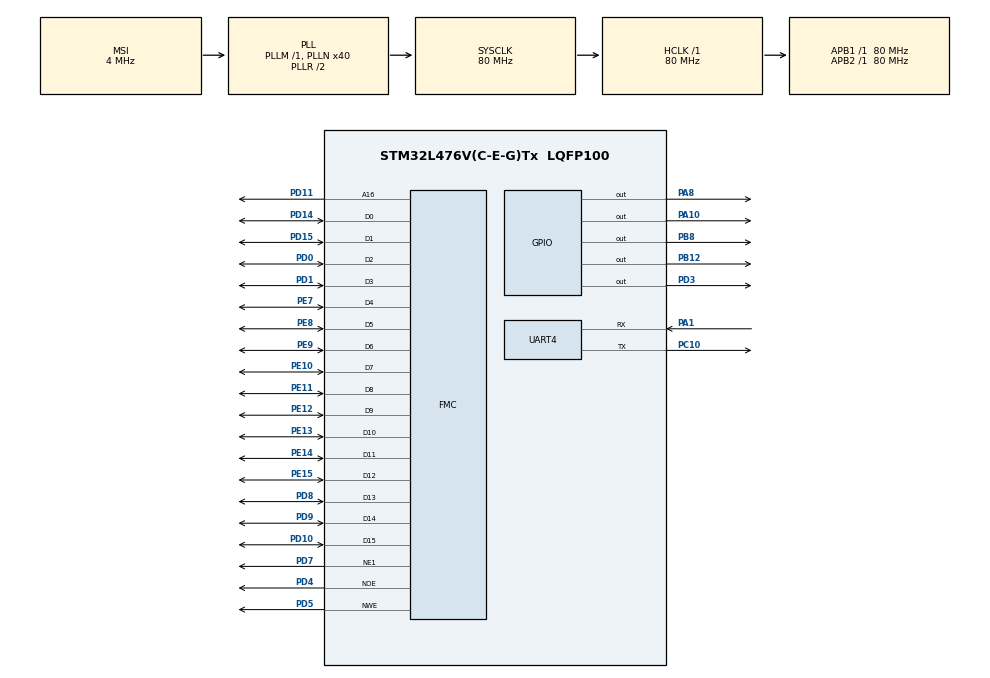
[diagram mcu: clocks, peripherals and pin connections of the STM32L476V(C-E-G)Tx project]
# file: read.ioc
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FMC.AccessMode1=FMC_ACCESS_MODE_A
FMC.AddressSetupTime1=5
FMC.AsynchronousWait1=FMC_ASYNCHRONOUS_WAIT_DISABLE
FMC.BurstAccessMode1=FMC_BURST_ACCESS_MODE_DISABLE
FMC.BusTurnAroundDuration1=5
FMC.CLKDivision1=16
FMC.ContinuousClock1=FMC_CONTINUOUS_CLOCK_SYNC_ONLY
FMC.DataAddressMux1=FMC_DATA_ADDRESS_MUX_DISABLE
FMC.DataLatency1=17
FMC.DataSetupTime1=5
FMC.Extended=FMC_NORSRAM_EXTENDED_DEVICE
FMC.NORSRAM_Instance=FMC_NORSRAM_DEVICE
FMC.NSCoherentPinout1=MEMORY_PINOUT_OK
FMC.NSMemoryDataWidth1=FMC_NORSRAM_MEM_BUS_WIDTH_16
FMC.PageSize1=FMC_PAGE_SIZE_NONE
FMC.WaitSignal1=FMC_WAIT_SIGNAL_DISABLE
FMC.WaitSignalActive1=FMC_WAIT_TIMING_BEFORE_WS
FMC.WaitSignalPolarity1=FMC_WAIT_SIGNAL_POLARITY_LOW
FMC.WriteBurst1=FMC_WRITE_BURST_DISABLE
FREERTOS.Tasks01=defaultTask,0,128,StartDefaultTask,Default,NULL
FREERTOS.configUSE_ALTERNATIVE_API=0
Mcu.Family=STM32L4
Mcu.Name=STM32L476V(C-E-G)Tx
Mcu.Package=LQFP100
NVIC.PriorityGroup=NVIC_PRIORITYGROUP_4
NVIC.TIM2_IRQn=true\:0\:0\:false\:false\:true\:false
NVIC.TimeBase=TIM2_IRQn
NVIC.TimeBaseIP=TIM2
PA1.Mode=Asynchronous
PA1.Signal=UART4_RX
PA10.Signal=GPIO_Output
PA8.Signal=GPIO_Output
PB12.Signal=GPIO_Output
PB8.Signal=GPIO_Output
PC10.Mode=Asynchronous
PC10.Signal=UART4_TX
PD0.Mode=16b-d1
PD0.Signal=FMC_D2
PD1.Mode=16b-d1
PD1.Signal=FMC_D3
PD10.Mode=16b-d1
PD10.Signal=FMC_D15
PD11.Mode=A16_1
PD11.Signal=FMC_A16
PD14.Mode=16b-d1
PD14.Signal=FMC_D0
PD15.Mode=16b-d1
PD15.Signal=FMC_D1
PD3.Signal=GPIO_Output
PD4.Mode=Lcd1
PD4.Signal=FMC_NOE
PD5.Mode=Lcd1
PD5.Signal=FMC_NWE
PD7.Mode=NorPsramChipSelect1_1
PD7.Signal=FMC_NE1
PD8.Mode=16b-d1
PD8.Signal=FMC_D13
PD9.Mode=16b-d1
PD9.Signal=FMC_D14
PE10.Mode=16b-d1
PE10.Signal=FMC_D7
PE11.Mode=16b-d1
PE11.Signal=FMC_D8
PE12.Mode=16b-d1
PE12.Signal=FMC_D9
PE13.Mode=16b-d1
PE13.Signal=FMC_D10
PE14.Mode=16b-d1
PE14.Signal=FMC_D11
PE15.Mode=16b-d1
PE15.Signal=FMC_D12
PE7.Mode=16b-d1
PE7.Signal=FMC_D4
PE8.Mode=16b-d1
PE8.Signal=FMC_D5
PE9.Mode=16b-d1
PE9.Signal=FMC_D6
PH0/OSC_IN.Mode=HSE-External-Oscillator
PH0/OSC_IN.Signal=RCC_OSC_IN
PH1/OSC_OUT.Mode=HSE-External-Oscillator
PH1/OSC_OUT.Signal=RCC_OSC_OUT
ProjectManager.HeapSize=0x200
ProjectManager.StackSize=0x400
ProjectManager.TargetToolchain=SW4STM32
RCC.AHBCLKDivider=RCC_SYSCLK_DIV1
RCC.AHBFreq_Value=80000000
RCC.APB1CLKDivider=RCC_HCLK_DIV1
RCC.APB1Freq_Value=80000000
RCC.APB1TimFreq_Value=80000000
RCC.APB2CLKDivider=RCC_HCLK_DIV1
RCC.APB2Freq_Value=80000000
RCC.APB2TimFreq_Value=80000000
RCC.ClockTypeHCLK=RCC_CLOCKTYPE_HCLK
RCC.ClockTypePCLK1=RCC_CLOCKTYPE_PCLK1
RCC.ClockTypePCLK2=RCC_CLOCKTYPE_PCLK2
RCC.ClockTypeSysClk=RCC_CLOCKTYPE_SYSCLK
RCC.CortexFreq_Value=80000000
RCC.Cortex_Div=SYSTICK_CLKSOURCE_HCLK
RCC.EnableCSSLSE=false
RCC.EnbaleCSS=false
RCC.HCLKFreq_Value=80000000
RCC.HSE_VALUE=8000000
RCC.HSI_VALUE=16000000
RCC.LSE_VALUE=32768
RCC.MSIClockRange=RCC_MSIRANGE_6
RCC.MSI_VALUE=4000000
RCC.PLLN=40
RCC.PLLP=RCC_PLLP_DIV7
RCC.PLLQ=RCC_PLLQ_DIV2
RCC.PLLR=RCC_PLLR_DIV2
RCC.PLLSAI1P=RCC_PLLP_DIV7
RCC.PLLSAI1Q=RCC_PLLQ_DIV2
RCC.PLLSAI1R=RCC_PLLR_DIV2
RCC.PLLSAI2P=RCC_PLLP_DIV7
RCC.PLLSAI2R=RCC_PLLR_DIV2
RCC.RCC_MCODiv=RCC_MCODIV_1
RCC.SYSCLKFreq_VALUE=80000000
RCC.SYSCLKSource=RCC_SYSCLKSOURCE_PLLCLK
RCC.VCOOutputFreq_Value=160000000
UART4.HwFlowCtl-Asynchronous=UART_HWCONTROL_NONE
UART4.WordLength=WORDLENGTH_8B
VP_CRC_VS_CRC.Mode=CRC_Activate
VP_FREERTOS_VS_ENABLE.Mode=Enabled
VP_SYS_VS_tim2.Mode=TIM2
board=read

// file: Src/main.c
/**
  ******************************************************************************
  * File Name          : main.c
  * Description        : Main program body
  ******************************************************************************
  *
  * Copyright (c) 2017 STMicroelectronics International N.V.
  * All rights reserved.
  *
  * Redistribution and use in source and binary forms, with or without
  * modification, are permitted, provided that the following conditions are met:
  *
  * 1. Redistribution of source code must retain the above copyright notice,
  *    this list of conditions and the following disclaimer.
  * 2. Redistributions in binary form must reproduce the above copyright notice,
  *    this list of conditions and the following disclaimer in the documentation
  *    and/or other materials provided with the distribution.
  * 3. Neither the name of STMicroelectronics nor the names of other
  *    contributors to this software may be used to endorse or promote products
  *    derived from this software without specific written permission.
  * 4. This software, including modifications and/or derivative works of this
  *    software, must execute solely and exclusively on microcontroller or
  *    microprocessor devices manufactured by or for STMicroelectronics.
  * 5. Redistribution and use of this software other than as permitted under
  *    this license is void and will automatically terminate your rights under
  *    this license.
  *
  * THIS SOFTWARE IS PROVIDED BY STMICROELECTRONICS AND CONTRIBUTORS "AS IS"
  * AND ANY EXPRESS, IMPLIED OR STATUTORY WARRANTIES, INCLUDING, BUT NOT
  * LIMITED TO, THE IMPLIED WARRANTIES OF MERCHANTABILITY, FITNESS FOR A
  * PARTICULAR PURPOSE AND NON-INFRINGEMENT OF THIRD PARTY INTELLECTUAL PROPERTY
  * RIGHTS ARE DISCLAIMED TO THE FULLEST EXTENT PERMITTED BY LAW. IN NO EVENT
  * SHALL STMICROELECTRONICS OR CONTRIBUTORS BE LIABLE FOR ANY DIRECT, INDIRECT,
  * INCIDENTAL, SPECIAL, EXEMPLARY, OR CONSEQUENTIAL DAMAGES (INCLUDING, BUT NOT
  * LIMITED TO, PROCUREMENT OF SUBSTITUTE GOODS OR SERVICES; LOSS OF USE, DATA,
  * OR PROFITS; OR BUSINESS INTERRUPTION) HOWEVER CAUSED AND ON ANY THEORY OF
  * LIABILITY, WHETHER IN CONTRACT, STRICT LIABILITY, OR TORT (INCLUDING
  * NEGLIGENCE OR OTHERWISE) ARISING IN ANY WAY OUT OF THE USE OF THIS SOFTWARE,
  * EVEN IF ADVISED OF THE POSSIBILITY OF SUCH DAMAGE.
  *
  ******************************************************************************
  */
#include "main.h"
#include "stm32l4xx_hal.h"
#include "cmsis_os.h"

/* USER CODE BEGIN Includes */
#include "ili9341.h"
#include "GUI.h"
#include "stdio.h"
#include "string.h"
/* USER CODE END Includes */

CRC_HandleTypeDef hcrc;

UART_HandleTypeDef huart4;

SRAM_HandleTypeDef hsram1;

osThreadId defaultTaskHandle;
osThreadId lcd;
osThreadId Serial;

/* USER CODE BEGIN PV */
/* Private variables ---------------------------------------------------------*/

/* USER CODE END PV */

void SystemClock_Config(void);
void Error_Handler(void);
static void MX_GPIO_Init(void);
static void MX_CRC_Init(void);
static void MX_FMC_Init(void);
static void MX_UART4_Init(void);
void StartDefaultTask(void const * argument);
void LcdDisplayTask(void const * argument);
void SerialPortTask(void const * argument);
/* USER CODE BEGIN PFP */
/* Private function prototypes -----------------------------------------------*/

/* USER CODE END PFP */

/* USER CODE BEGIN 0 */
uint8_t aTxBuffer[] = "hello\n\r";

/* Buffer used for reception */

/* USER CODE END 0 */

int main(void)
{

  /* MCU Configuration----------------------------------------------------------*/

  /* Reset of all peripherals, Initializes the Flash interface and the Systick. */
  HAL_Init();

  /* Configure the system clock */
  SystemClock_Config();

  /* Initialize all configured peripherals */
  MX_GPIO_Init();
  MX_CRC_Init();
  MX_FMC_Init();
  MX_UART4_Init();

  /* USER CODE BEGIN 2 */
  HAL_GPIO_WritePin(GPIOD, GPIO_PIN_3, GPIO_PIN_SET);
  HAL_GPIO_WritePin(GPIOB, GPIO_PIN_8, GPIO_PIN_SET);
  HAL_GPIO_WritePin(GPIOA, GPIO_PIN_8 | GPIO_PIN_10, GPIO_PIN_RESET);
   LCD_Init();
   GUI_Init();

  //void Lcd_GramScan( uint16_t option );
//   LCD_Clear(uint16_t x, uint16_t y, uint16_t width, uint16_t height, uint16_t color);
//  LCD_SetCursor(uint16_t x, uint16_t y);
//   LCD_OpenWindow(uint16_t x, uint16_t y, uint16_t width, uint16_t height);
//   LCD_SetPoint(uint16_t x , uint16_t y , uint16_t color);
//  uint16_t LCD_GetPoint(uint16_t x , uint16_t y);

//   LCD_DisplayLine(uint16_t x , uint16_t y , uint16_t color);
  // LCD_OpenWindow(0,0,240,320);
 //  LCD_DisplayLine(0,0,240,320,BLUE);

  /* USER CODE END 2 */

  /* Create the thread(s) */
  /* definition and creation of defaultTask */
  osThreadDef(defaultTask, StartDefaultTask, osPriorityNormal, 0, 128);
  defaultTaskHandle = osThreadCreate(osThread(defaultTask), NULL);

  /* USER CODE BEGIN RTOS_THREADS */
  /* add threads, ... */
  osThreadDef(lcddisp, LcdDisplayTask, osPriorityNormal, 0, 128);
  lcd = osThreadCreate(osThread(lcddisp), NULL);

  osThreadDef(serialtx, SerialPortTask, osPriorityNormal, 0, 128);
  Serial = osThreadCreate(osThread(serialtx), NULL);
  /* USER CODE END RTOS_THREADS */

  /* Start scheduler */
  osKernelStart();

  /* We should never get here as control is now taken by the scheduler */

  /* Infinite loop */
  while (1)
  {

  /* USER CODE BEGIN 3 */
//	    HAL_GPIO_TogglePin(GPIOA, GPIO_PIN_8 | GPIO_PIN_10);
//	    HAL_Delay(1000);
//	    LCD_Clear(0,0,319,239,YELLOW);
//	  HAL_UART_Transmit(&huart4, (uint8_t*)aTxBuffer, 8, 5000);
//	  printf("123456\n\r");
  }
  /* USER CODE END 3 */

}

/** System Clock Configuration
*/
void SystemClock_Config(void)
{

  RCC_OscInitTypeDef RCC_OscInitStruct;
  RCC_ClkInitTypeDef RCC_ClkInitStruct;
  RCC_PeriphCLKInitTypeDef PeriphClkInit;

    /**Initializes the CPU, AHB and APB busses clocks
    */
  RCC_OscInitStruct.OscillatorType = RCC_OSCILLATORTYPE_MSI;
  RCC_OscInitStruct.MSIState = RCC_MSI_ON;
  RCC_OscInitStruct.MSICalibrationValue = 0;
  RCC_OscInitStruct.MSIClockRange = RCC_MSIRANGE_6;
  RCC_OscInitStruct.PLL.PLLState = RCC_PLL_ON;
  RCC_OscInitStruct.PLL.PLLSource = RCC_PLLSOURCE_MSI;
  RCC_OscInitStruct.PLL.PLLM = 1;
  RCC_OscInitStruct.PLL.PLLN = 40;
  RCC_OscInitStruct.PLL.PLLP = RCC_PLLP_DIV7;
  RCC_OscInitStruct.PLL.PLLQ = RCC_PLLQ_DIV2;
  RCC_OscInitStruct.PLL.PLLR = RCC_PLLR_DIV2;
  if (HAL_RCC_OscConfig(&RCC_OscInitStruct) != HAL_OK)
  {
    Error_Handler();
  }

    /**Initializes the CPU, AHB and APB busses clocks
    */
  RCC_ClkInitStruct.ClockType = RCC_CLOCKTYPE_HCLK|RCC_CLOCKTYPE_SYSCLK
                              |RCC_CLOCKTYPE_PCLK1|RCC_CLOCKTYPE_PCLK2;
  RCC_ClkInitStruct.SYSCLKSource = RCC_SYSCLKSOURCE_PLLCLK;
  RCC_ClkInitStruct.AHBCLKDivider = RCC_SYSCLK_DIV1;
  RCC_ClkInitStruct.APB1CLKDivider = RCC_HCLK_DIV1;
  RCC_ClkInitStruct.APB2CLKDivider = RCC_HCLK_DIV1;

  if (HAL_RCC_ClockConfig(&RCC_ClkInitStruct, FLASH_LATENCY_4) != HAL_OK)
  {
    Error_Handler();
  }

  PeriphClkInit.PeriphClockSelection = RCC_PERIPHCLK_UART4;
  PeriphClkInit.Uart4ClockSelection = RCC_UART4CLKSOURCE_PCLK1;
  if (HAL_RCCEx_PeriphCLKConfig(&PeriphClkInit) != HAL_OK)
  {
    Error_Handler();
  }

    /**Configure the main internal regulator output voltage
    */
  if (HAL_PWREx_ControlVoltageScaling(PWR_REGULATOR_VOLTAGE_SCALE1) != HAL_OK)
  {
    Error_Handler();
  }

    /**Configure the Systick interrupt time
    */
  HAL_SYSTICK_Config(HAL_RCC_GetHCLKFreq()/1000);

    /**Configure the Systick
    */
  HAL_SYSTICK_CLKSourceConfig(SYSTICK_CLKSOURCE_HCLK);

  /* SysTick_IRQn interrupt configuration */
  HAL_NVIC_SetPriority(SysTick_IRQn, 15, 0);
}

/* CRC init function */
static void MX_CRC_Init(void)
{

  hcrc.Instance = CRC;
  hcrc.Init.DefaultPolynomialUse = DEFAULT_POLYNOMIAL_ENABLE;
  hcrc.Init.DefaultInitValueUse = DEFAULT_INIT_VALUE_ENABLE;
  hcrc.Init.InputDataInversionMode = CRC_INPUTDATA_INVERSION_NONE;
  hcrc.Init.OutputDataInversionMode = CRC_OUTPUTDATA_INVERSION_DISABLE;
  hcrc.InputDataFormat = CRC_INPUTDATA_FORMAT_BYTES;
  if (HAL_CRC_Init(&hcrc) != HAL_OK)
  {
    Error_Handler();
  }

}

/* UART4 init function */
static void MX_UART4_Init(void)
{

  huart4.Instance = UART4;
  huart4.Init.BaudRate = 115200;
  huart4.Init.WordLength = UART_WORDLENGTH_8B;
  huart4.Init.StopBits = UART_STOPBITS_1;
  huart4.Init.Parity = UART_PARITY_NONE;
  huart4.Init.Mode = UART_MODE_TX_RX;
  huart4.Init.HwFlowCtl = UART_HWCONTROL_NONE;
  huart4.Init.OverSampling = UART_OVERSAMPLING_16;
  huart4.Init.OneBitSampling = UART_ONE_BIT_SAMPLE_DISABLE;
  huart4.AdvancedInit.AdvFeatureInit = UART_ADVFEATURE_NO_INIT;
  if (HAL_UART_Init(&huart4) != HAL_OK)
  {
    Error_Handler();
  }

}
/* FMC initialization function */
static void MX_FMC_Init(void)
{
  FMC_NORSRAM_TimingTypeDef Timing;

  /** Perform the SRAM1 memory initialization sequence
  */
  hsram1.Instance = FMC_NORSRAM_DEVICE;
  hsram1.Extended = FMC_NORSRAM_EXTENDED_DEVICE;
  /* hsram1.Init */
  hsram1.Init.NSBank = FMC_NORSRAM_BANK1;
  hsram1.Init.DataAddressMux = FMC_DATA_ADDRESS_MUX_DISABLE;
  hsram1.Init.MemoryType = FMC_MEMORY_TYPE_SRAM;
  hsram1.Init.MemoryDataWidth = FMC_NORSRAM_MEM_BUS_WIDTH_16;
  hsram1.Init.BurstAccessMode = FMC_BURST_ACCESS_MODE_DISABLE;
  hsram1.Init.WaitSignalPolarity = FMC_WAIT_SIGNAL_POLARITY_LOW;
  hsram1.Init.WaitSignalActive = FMC_WAIT_TIMING_BEFORE_WS;
  hsram1.Init.WriteOperation = FMC_WRITE_OPERATION_ENABLE;
  hsram1.Init.WaitSignal = FMC_WAIT_SIGNAL_DISABLE;
  hsram1.Init.ExtendedMode = FMC_EXTENDED_MODE_DISABLE;
  hsram1.Init.AsynchronousWait = FMC_ASYNCHRONOUS_WAIT_DISABLE;
  hsram1.Init.WriteBurst = FMC_WRITE_BURST_DISABLE;
  hsram1.Init.ContinuousClock = FMC_CONTINUOUS_CLOCK_SYNC_ONLY;
  hsram1.Init.PageSize = FMC_PAGE_SIZE_NONE;
  /* Timing */
  Timing.AddressSetupTime = 5;
  Timing.AddressHoldTime = 15;
  Timing.DataSetupTime = 5;
  Timing.BusTurnAroundDuration = 5;
  Timing.CLKDivision = 16;
  Timing.DataLatency = 17;
  Timing.AccessMode = FMC_ACCESS_MODE_A;
  /* ExtTiming */

  if (HAL_SRAM_Init(&hsram1, &Timing, NULL) != HAL_OK)
  {
    Error_Handler();
  }

}

/** Configure pins as
        * Analog
        * Input
        * Output
        * EVENT_OUT
        * EXTI
*/
static void MX_GPIO_Init(void)
{

  GPIO_InitTypeDef GPIO_InitStruct;

  /* GPIO Ports Clock Enable */
  __HAL_RCC_GPIOH_CLK_ENABLE();
  __HAL_RCC_GPIOA_CLK_ENABLE();
  __HAL_RCC_GPIOE_CLK_ENABLE();
  __HAL_RCC_GPIOB_CLK_ENABLE();
  __HAL_RCC_GPIOD_CLK_ENABLE();
  __HAL_RCC_GPIOC_CLK_ENABLE();

  /*Configure GPIO pin Output Level */
  HAL_GPIO_WritePin(GPIOB, GPIO_PIN_12|GPIO_PIN_8, GPIO_PIN_RESET);

  /*Configure GPIO pin Output Level */
  HAL_GPIO_WritePin(GPIOA, GPIO_PIN_8|GPIO_PIN_10, GPIO_PIN_RESET);

  /*Configure GPIO pin Output Level */
  HAL_GPIO_WritePin(GPIOD, GPIO_PIN_3, GPIO_PIN_RESET);

  /*Configure GPIO pins : PB12 PB8 */
  GPIO_InitStruct.Pin = GPIO_PIN_12|GPIO_PIN_8;
  GPIO_InitStruct.Mode = GPIO_MODE_OUTPUT_PP;
  GPIO_InitStruct.Pull = GPIO_NOPULL;
  GPIO_InitStruct.Speed = GPIO_SPEED_FREQ_LOW;
  HAL_GPIO_Init(GPIOB, &GPIO_InitStruct);

  /*Configure GPIO pins : PA8 PA10 */
  GPIO_InitStruct.Pin = GPIO_PIN_8|GPIO_PIN_10;
  GPIO_InitStruct.Mode = GPIO_MODE_OUTPUT_PP;
  GPIO_InitStruct.Pull = GPIO_NOPULL;
  GPIO_InitStruct.Speed = GPIO_SPEED_FREQ_LOW;
  HAL_GPIO_Init(GPIOA, &GPIO_InitStruct);

  /*Configure GPIO pin : PD3 */
  GPIO_InitStruct.Pin = GPIO_PIN_3;
  GPIO_InitStruct.Mode = GPIO_MODE_OUTPUT_PP;
  GPIO_InitStruct.Pull = GPIO_NOPULL;
  GPIO_InitStruct.Speed = GPIO_SPEED_FREQ_LOW;
  HAL_GPIO_Init(GPIOD, &GPIO_InitStruct);

}

/* USER CODE BEGIN 4 */
int _write(int file, char* ptr, int len)
{
	int DataIdx;

	for (DataIdx = 0; DataIdx < len; DataIdx++) {
		HAL_UART_Transmit(&huart4, (uint8_t*)ptr++, 1, 50);
	}

	return len;
}

void LcdDisplayTask(void const * argument)
{
	while(1)
	{

		printf("lcd display\n\r");
		printf("start_t=%d\r\n",GUI_GetTime());
		GUI_DispString("Hello STemWin!");
		printf("end_t=%d\r\n",GUI_GetTime());
		osDelay(1);

	}
}
void SerialPortTask(void const * argument)
{
	while(1)
	{
		printf("serial port\n\r");
		osDelay(1);
	}

}

/* USER CODE END 4 */

/* StartDefaultTask function */
void StartDefaultTask(void const * argument)
{

  for(;;)
  {
    osDelay(1);
  }
}

void HAL_TIM_PeriodElapsedCallback(TIM_HandleTypeDef *htim)
{
  if (htim->Instance == TIM2) {
    HAL_IncTick();
  }
}

void Error_Handler(void)
{
  while(1)
  {
  }
}

/************************ (C) COPYRIGHT STMicroelectronics *****END OF FILE****/
